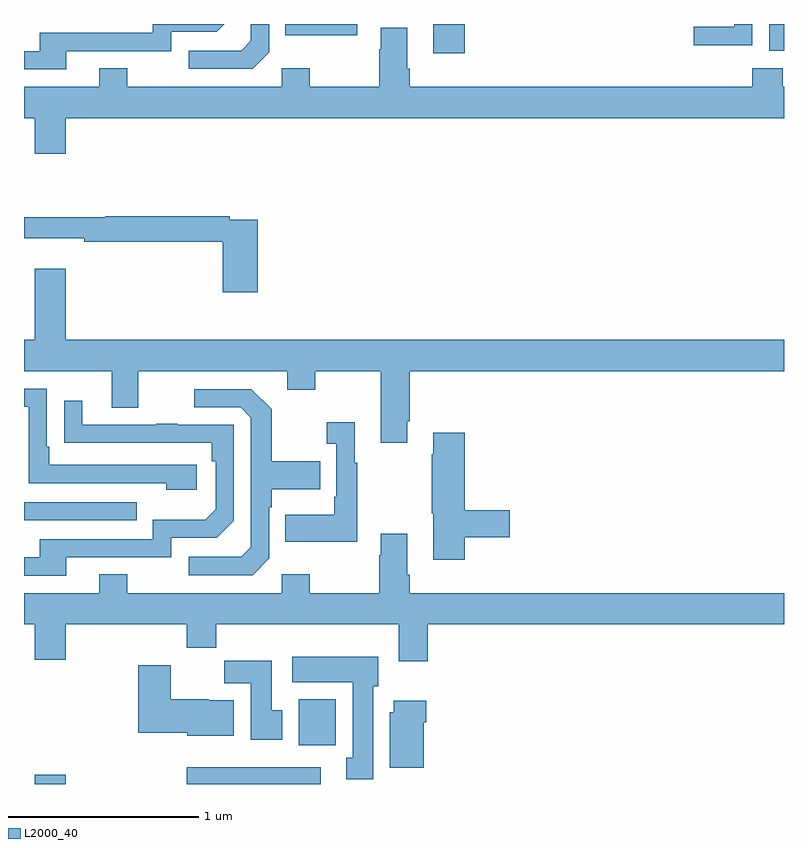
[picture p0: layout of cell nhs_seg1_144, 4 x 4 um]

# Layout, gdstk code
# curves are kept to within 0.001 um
import gdstk
lib = gdstk.Library(unit=1e-6, precision=1e-09)
def R(c, l, rs):  # rectangles x0, y0, x1, y1
    for r in rs: c.add(gdstk.rectangle(r[:2], r[2:], *l))
def P(c, l, *ps):  # polygons
    for p in ps: c.add(gdstk.Polygon(p, *l))
L2000_40 = (2000, 40)

nhs_seg1_144 = lib.new_cell('nhs_seg1_144')
R(nhs_seg1_144, L2000_40, [(117.056,576.199,117.22,576.247), (117.857,576.199,118.561,576.286), (118.445,576.404,118.642,576.646), (117,577.587,117.593,577.683), (119.153,580.044,119.321,580.199), (120.923,580.058,121,580.199), (118.375,580.139,118.753,580.199)])
P(nhs_seg1_144, L2000_40, [(118.29,580.05),(118.29,580.199),(118.194,580.199),(118.194,580.11),(118.143,580.059),(117.867,580.059),(117.867,579.963),(118.203,579.963)],
  [(120.834,580.199),(120.738,580.199),(120.738,580.185),(120.525,580.185),(120.525,580.087),(120.834,580.087)],
  [(117.223,580.056),(117.774,580.056),(117.774,580.158),(118.014,580.158),(118.055,580.199),(117.678,580.199),(117.678,580.152),(117.083,580.152),(117.083,580.056),(117,580.056),(117,579.96),(117.223,579.96)],
  [(117.22,579.704),(121,579.704),(121,579.868),(120.993,579.868),(120.993,579.967),(120.833,579.967),(120.833,579.868),(119.03,579.868),(119.03,579.964),(119.017,579.964),(119.017,580.18),(118.877,580.18),(118.877,580.067),(118.87,580.067),(118.87,579.868),(118.503,579.868),(118.503,579.967),(118.356,579.967),(118.356,579.868),(117.543,579.868),(117.543,579.967),(117.395,579.967),(117.395,579.868),(117,579.868),(117,579.704),(117.056,579.704),(117.056,579.516),(117.22,579.516)],
  [(118.229,579.168),(118.082,579.168),(118.082,579.188),(117.427,579.188),(117.427,579.181),(117,579.181),(117,579.071),(117.316,579.071),(117.316,579.052),(118.046,579.052),(118.046,578.787),(118.229,578.787)],
  [(119.017,578.107),(119.03,578.107),(119.03,578.372),(121,578.372),(121,578.536),(117.22,578.536),(117.22,578.911),(117.056,578.911),(117.056,578.536),(117,578.536),(117,578.372),(117.461,578.372),(117.461,578.178),(117.601,578.178),(117.601,578.372),(118.385,578.372),(118.385,578.273),(118.533,578.273),(118.533,578.372),(118.877,578.372),(118.877,577.995),(119.017,577.995)],
  [(117.91,577.878),(117.133,577.878),(117.133,577.975),(117.12,577.975),(117.12,578.28),(117,578.28),(117,578.184),(117.024,578.184),(117.024,577.782),(117.749,577.782),(117.749,577.748),(117.91,577.748)],
  [(118.29,577.386),(118.29,577.655),(118.303,577.655),(118.303,577.751),(118.559,577.751),(118.559,577.899),(118.303,577.899),(118.303,578.171),(118.197,578.277),(117.897,578.277),(117.897,578.181),(118.14,578.181),(118.194,578.127),(118.194,577.446),(118.143,577.395),(117.867,577.395),(117.867,577.299),(118.203,577.299)],
  [(117.223,577.392),(117.774,577.392),(117.774,577.494),(118.014,577.494),(118.104,577.584),(118.104,578.091),(117.809,578.091),(117.809,578.096),(117.697,578.096),(117.697,578.091),(117.307,578.091),(117.307,578.215),(117.211,578.215),(117.211,577.996),(117.988,577.995),(117.988,577.898),(118.008,577.898),(118.008,577.644),(117.955,577.591),(117.678,577.591),(117.678,577.488),(117.083,577.488),(117.083,577.392),(117,577.392),(117,577.296),(117.223,577.296)],
  [(118.753,577.891),(118.741,577.891),(118.741,578.104),(118.593,578.104),(118.593,577.991),(118.644,577.991),(118.644,577.711),(118.632,577.711),(118.632,577.615),(118.375,577.615),(118.375,577.475),(118.753,577.475)],
  [(119.321,577.498),(119.557,577.498),(119.557,577.64),(119.321,577.64),(119.321,578.047),(119.153,578.047),(119.153,577.934),(119.146,577.934),(119.146,577.623),(119.153,577.623),(119.153,577.38),(119.321,577.38)],
  [(119.126,577.04),(121,577.04),(121,577.204),(119.03,577.204),(119.03,577.3),(119.017,577.3),(119.017,577.516),(118.877,577.516),(118.877,577.403),(118.87,577.403),(118.87,577.204),(118.503,577.204),(118.503,577.303),(118.356,577.303),(118.356,577.204),(117.543,577.204),(117.543,577.303),(117.395,577.303),(117.395,577.204),(117,577.204),(117,577.04),(117.056,577.04),(117.056,576.852),(117.22,576.852),(117.22,577.04),(117.857,577.04),(117.857,576.916),(118.013,576.916),(118.013,577.04),(118.973,577.04),(118.973,576.846),(119.126,576.846)],
  [(118.837,576.714),(118.864,576.714),(118.864,576.868),(118.413,576.868),(118.413,576.734),(118.73,576.734),(118.73,576.338),(118.697,576.338),(118.697,576.225),(118.837,576.225)],
  [(118.36,576.588),(118.303,576.588),(118.303,576.847),(118.054,576.847),(118.054,576.728),(118.193,576.728),(118.193,576.432),(118.36,576.432)],
  [(118.105,576.64),(117.972,576.64),(117.972,576.646),(117.772,576.646),(117.772,576.823),(117.602,576.823),(117.602,576.47),(117.858,576.47),(117.858,576.452),(118.105,576.452)],
  [(119.104,576.524),(119.117,576.524),(119.117,576.637),(118.946,576.637),(118.946,576.576),(118.925,576.576),(118.925,576.284),(119.104,576.284)])

lib.write_gds('nhs_seg1_144.gds')
